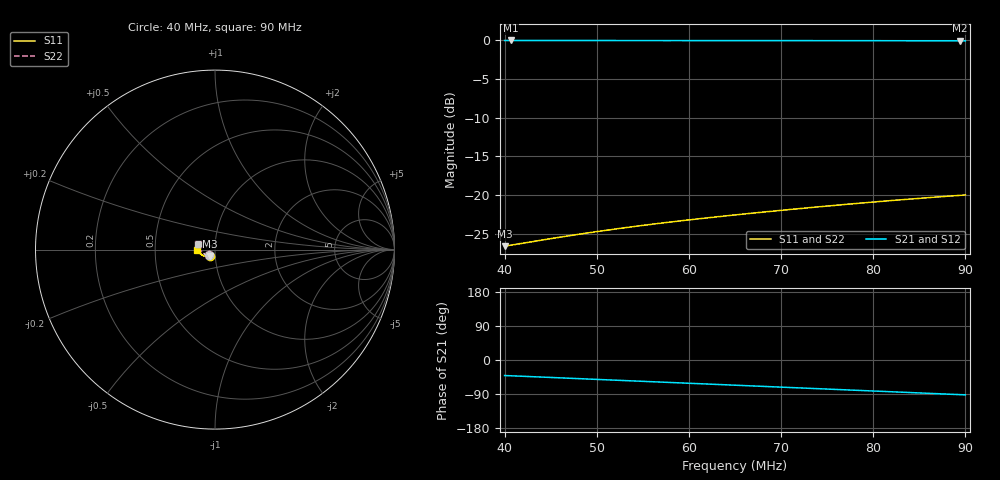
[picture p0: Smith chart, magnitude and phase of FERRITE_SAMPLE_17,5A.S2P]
!Agilent Technologies,E5061B,MY49102235,A.02.00
!Date: Mon Jul 03 10:32:54 2023
!Data & Calibration Information:
!Freq	S11:SOLT2(ON)	S21:SOLT2(ON)	S12:SOLT2(ON)	S22:SOLT2(ON)
# Hz S RI R 50
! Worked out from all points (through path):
!   1600 points, 40 MHz to 90 MHz, reference 50 ohm
!   highest |S21| = -0.01 dB at 40.69 MHz (marker M1); lowest = -0.1 dB at 89.44 MHz (marker M2)
!   group delay of S21, straight-line fit = 2.84 ns
!   lowest |S11| = -26.6 dB at 40 MHz (marker M3), VSWR 1.10, Z = 47 - j3.39 ohm
!   |S11| at or under -10 dB: start of sweep to end of sweep
!   |S22| runs from -26.7 to -20.0 dB; largest |S21 - S12| = 0.0014
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4e7  -0.03 -0.036  0.7545 -0.6547  0.7548 -0.6539  -0.0347 -0.0306
4.025016e7  -0.0303 -0.0361  0.7517 -0.658  0.7517 -0.6572  -0.035 -0.0306
4.068793e7  -0.0308 -0.0362  0.7467 -0.664  0.7468 -0.6629  -0.0356 -0.0306
4.312695e7  -0.0342 -0.0367  0.7166 -0.6956  0.7168 -0.6949  -0.0396 -0.0304
4.447154e7  -0.0361 -0.0371  0.6996 -0.7126  0.7 -0.7118  -0.0417 -0.0302
4.834897e7  -0.0416 -0.0378  0.6485 -0.7589  0.6489 -0.7586  -0.0479 -0.0289
5.228893e7  -0.0476 -0.0379  0.5933 -0.8022  0.5934 -0.8019  -0.0541 -0.0266
5.666667e7  -0.0541 -0.0372  0.5289 -0.8457  0.5288 -0.8452  -0.0607 -0.023
6.073171e7  -0.0603 -0.0356  0.4663 -0.8814  0.4661 -0.8808  -0.0664 -0.019
6.501563e7  -0.0671 -0.0327  0.3973 -0.9144  0.3977 -0.9135  -0.0721 -0.0144
6.901814e7  -0.0732 -0.029  0.331 -0.9403  0.3318 -0.9394  -0.0774 -0.00933
7.126954e7  -0.0766 -0.0266  0.293 -0.9528  0.2935 -0.952  -0.0802 -0.00597
7.33646e7  -0.0798 -0.0244  0.2569 -0.9629  0.2577 -0.9623  -0.0828 -0.00282
7.558474e7  -0.0828 -0.0217  0.2183 -0.972  0.2192 -0.9714  -0.0852 0.000819
7.771107e7  -0.0858 -0.0189  0.1809 -0.9796  0.1817 -0.9789  -0.0875 0.00446
7.95247e7  -0.0883 -0.0164  0.1492 -0.9842  0.15 -0.9839  -0.0892 0.00775
8.16823e7  -0.0911 -0.0135  0.1111 -0.989  0.112 -0.9885  -0.0911 0.0121
8.390244e7  -0.0937 -0.0103  0.072 -0.9918  0.0724 -0.9917  -0.0928 0.0166
8.584115e7  -0.0959 -0.00738  0.0379 -0.9935  0.038 -0.9932  -0.0938 0.0208
8.943715e7  -0.0998 -0.00128  -0.0253 -0.9934  -0.025 -0.993  -0.0955 0.0287
8.978111e7  -0.1002 -0.000895  -0.0314 -0.9932  -0.0312 -0.9927  -0.0957 0.0294
9e7  -0.1005 -0.000451  -0.035 -0.9931  -0.0349 -0.9927  -0.0959 0.0299
